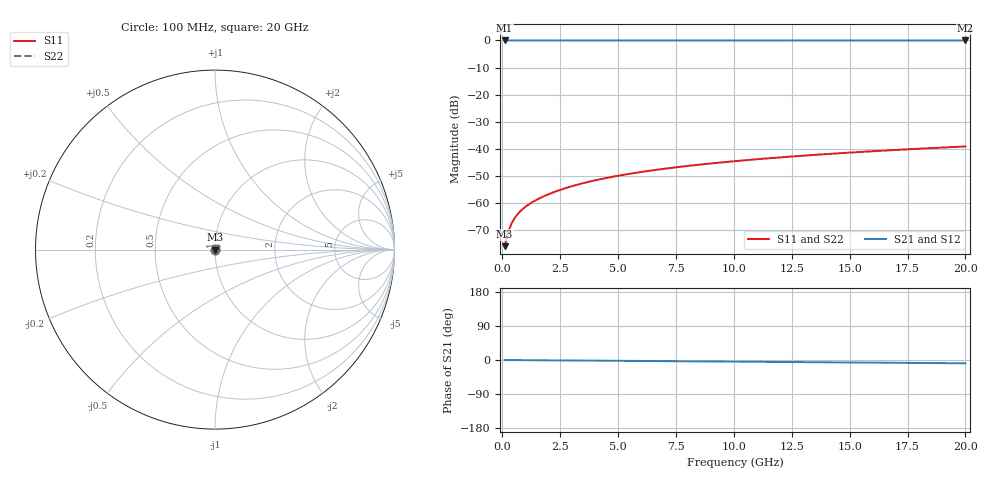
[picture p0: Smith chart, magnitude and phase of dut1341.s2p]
! Touchstone file exported from HFSS 2026.1.0
!  File:  C:/ffzhzh/LocalFiles/Ansys_Project_Files/temp_train_TSV_1341_1783195585_55132.aedt
!  Generated:  04:08:10 AM Jul  5, 2026
!  Design:  TSV
!  Project:  temp_train_TSV_1341_1783195585_55132
! Variables:
!  h_bsmrdl = 2um
!  h_ox = 20um
!  h_rdl = 5um
!  h_sub = 86.47um
!  h_tmrdl = 5um
!  h_tsv = 86.47um
!  h_via = 3um
!  l_bsmrdl = 300um
!  l_sub = 421.22um
!  l_tmrdl = 200um
!  m_sub = 200um
!  pitch = 46.4um
!  r_tsv = 10.61um
!  s_tmrdl = 10um
!  w_bsmrdl = 18um
!  w_sub = 500um
!  w_tmrdl = 12um
!  x_tsv_center1 = 206um
!  x_tsv_center2 = 524um
!  x_tsv_center3 = 736um
!  x_tsv_center4 = 1054um
!  x_tsv_center5 = 1266um
!  x_tsv_center6 = 1584um
# GHz S MA R 50.000000
! Terminal data exported
! Port[1] = TSV1_1_T1
! Port[2] = TSV1_1_T2
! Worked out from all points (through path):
!   200 points, 100 MHz to 20 GHz, reference 50 ohm
!   highest |S21| = 0.00 dB at 100 MHz (marker M1); lowest = 0.0 dB at 20 GHz (marker M2)
!   group delay of S21, straight-line fit = 1.2 ps
!   lowest |S11| = -76.0 dB at 100 MHz (marker M3), VSWR 1.00, Z = 50 + j0.00996 ohm
!   |S11| at or under -10 dB: start of sweep to end of sweep
!   |S22| runs from -76.0 to -39.2 dB; largest |S21 - S12| = 6.2e-15
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0.1  0.0001583 39.0  0.9999 -0.0  0.9999 -0.0  0.0001583 39.0
! Gamma 0 0 0 0
! Port Impedance 50 0 50 0
0.2  0.0002387 55.3  0.9999 -0.1  0.9999 -0.1  0.0002387 55.3
0.3  0.0003268 61.7  0.9998 -0.1  0.9998 -0.1  0.0003268 61.7
0.4  0.0004135 64.5  0.9998 -0.2  0.9998 -0.2  0.0004135 64.5
0.5  0.0004958 65.8  0.9998 -0.2  0.9998 -0.2  0.0004958 65.8
0.6  0.0005734 66.6  0.9998 -0.3  0.9998 -0.3  0.0005734 66.6
0.7  0.0006465 67.0  0.9998 -0.3  0.9998 -0.3  0.0006465 67.0
0.9  0.0007824 67.8  0.9997 -0.4  0.9997 -0.4  0.0007824 67.8
1.1  0.000909 68.6  0.9997 -0.5  0.9997 -0.5  0.000909 68.6
1.3  0.00103 69.4  0.9996 -0.6  0.9996 -0.6  0.00103 69.4
1.6  0.001208 70.6  0.9996 -0.7  0.9996 -0.7  0.001208 70.6
1.9  0.001384 71.6  0.9996 -0.8  0.9996 -0.8  0.001384 71.6
2.6  0.001793 73.5  0.9995 -1.1  0.9995 -1.1  0.001793 73.5
3.5  0.002315 74.9  0.9995 -1.5  0.9995 -1.5  0.002315 74.9
4.2  0.002715 75.5  0.9994 -1.8  0.9994 -1.8  0.002715 75.5
5  0.003166 76.0  0.9993 -2.2  0.9993 -2.2  0.003166 76.0
6.8  0.004156 76.4  0.9992 -3.0  0.9992 -3.0  0.004156 76.4
8.3  0.004964 76.6  0.9991 -3.6  0.9991 -3.6  0.004964 76.6
10.1  0.00592 76.6  0.9991 -4.4  0.9991 -4.4  0.00592 76.6
13.4  0.007648 76.2  0.9989 -5.8  0.9989 -5.8  0.007648 76.2
16.7  0.009347 75.5  0.9988 -7.2  0.9988 -7.2  0.009347 75.4
20  0.01101 74.5  0.9986 -8.6  0.9986 -8.6  0.01101 74.5
